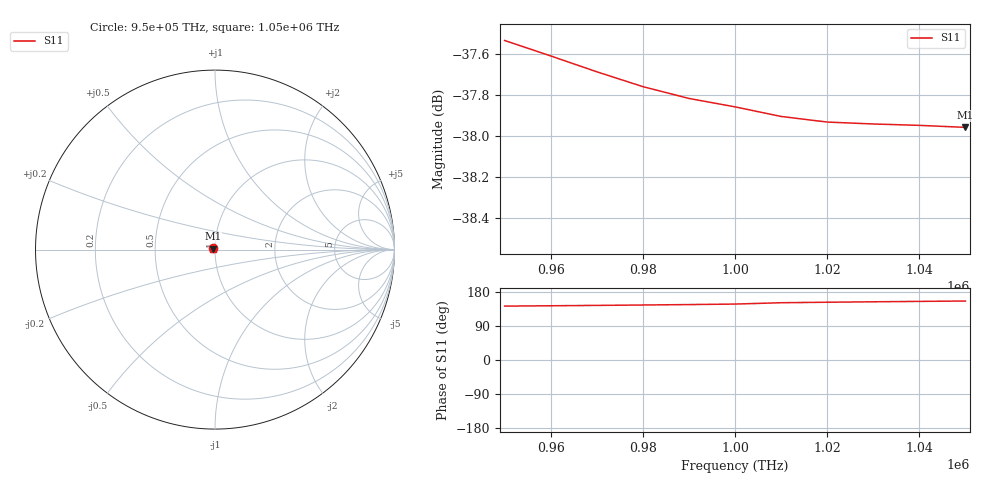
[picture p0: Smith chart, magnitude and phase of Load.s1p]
# GHz S RI R 50
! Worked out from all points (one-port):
!   11 points, 9.5e+05 THz to 1.05e+06 THz, reference 50 ohm
!   lowest |S11| = -38.0 dB at 1.05e+06 THz (marker M1), VSWR 1.03, Z = 48.9 + j0.51 ohm
!   |S11| at or under -10 dB: start of sweep to end of sweep
9.5e8  -0.0105 0.00813
9.6e8  -0.0105 0.0079
9.7e8  -0.0106 0.00765
9.8e8  -0.0106 0.0074
9.9e8  -0.0107 0.00714
1e9  -0.0108 0.00686
1.01e9  -0.0111 0.00615
1.02e9  -0.0112 0.00587
1.03e9  -0.0114 0.00564
1.04e9  -0.0114 0.00542
1.05e9  -0.0115 0.00522
